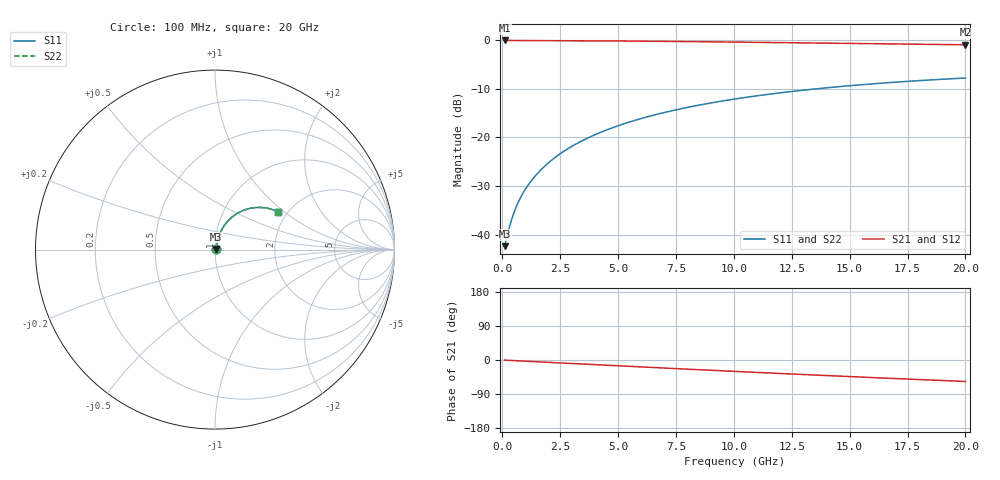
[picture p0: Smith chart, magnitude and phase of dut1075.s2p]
! Touchstone file exported from HFSS 2026.1.0
!  File:  C:/ffzhzh/LocalFiles/Ansys_Project_Files/temp_train_TMRDL_1075_1783160789_55132.aedt
!  Generated:  06:27:53 PM Jul  4, 2026
!  Design:  TMRDL
!  Project:  temp_train_TMRDL_1075_1783160789_55132
! Variables:
!  h_bsmrdl = 2um
!  h_ox = 20um
!  h_rdl = 5um
!  h_sub = 80um
!  h_tmrdl = 2.36um
!  h_tsv = 80um
!  h_via = 3um
!  l_bsmrdl = 300um
!  l_sub = 1316.37um
!  l_tmrdl = 916.37um
!  m_sub = 200um
!  pitch = 36.78um
!  r_tsv = 6um
!  s_tmrdl = 10um
!  w_bsmrdl = 18um
!  w_sub = 500um
!  w_tmrdl = 20.31um
!  x_tsv_center1 = 926.525um
!  x_tsv_center2 = 1244.525um
!  x_tsv_center3 = 2181.205um
!  x_tsv_center4 = 2499.205um
!  x_tsv_center5 = 3435.885um
!  x_tsv_center6 = 3753.885um
# GHz S MA R 50.000000
! Terminal data exported
! Port[1] = TM_RDL1_1_T1
! Port[2] = TM_RDL1_1_T2
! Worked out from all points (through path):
!   200 points, 100 MHz to 20 GHz, reference 50 ohm
!   highest |S21| = -0.06 dB at 100 MHz (marker M1); lowest = -0.9 dB at 20 GHz (marker M2)
!   group delay of S21, straight-line fit = 7.88 ps
!   lowest |S11| = -42.4 dB at 100 MHz (marker M3), VSWR 1.02, Z = 50.7 + j0.313 ohm
!   |S11| at or under -10 dB: start of sweep to 13.58 GHz
!   |S22| runs from -42.4 to -7.8 dB; largest |S21 - S12| = 3.3e-15
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0.1  0.007612 23.9  0.9931 -0.3  0.9931 -0.3  0.007612 23.9
! Gamma 0 0 0 0
! Port Impedance 50 0 50 0
0.3  0.01177 50.0  0.9925 -1.0  0.9925 -1.0  0.01177 50.0
0.4  0.01425 56.0  0.9922 -1.3  0.9922 -1.3  0.01425 56.0
0.5  0.01677 60.0  0.9919 -1.6  0.9919 -1.6  0.01677 60.0
0.6  0.01929 62.8  0.9916 -1.9  0.9916 -1.9  0.01929 62.8
0.7  0.02181 65.0  0.9914 -2.2  0.9914 -2.2  0.02181 65.0
0.9  0.02685 68.1  0.9909 -2.8  0.9909 -2.8  0.02685 68.1
1.2  0.03444 70.9  0.9904 -3.8  0.9904 -3.8  0.03444 70.9
1.4  0.03954 72.1  0.99 -4.4  0.99 -4.4  0.03954 72.1
1.7  0.04725 73.2  0.9895 -5.3  0.9895 -5.3  0.04725 73.2
2.2  0.06017 74.0  0.9886 -6.8  0.9886 -6.8  0.06017 74.0
2.8  0.0757 73.9  0.9873 -8.6  0.9873 -8.6  0.0757 73.9
3.5  0.09375 73.0  0.9855 -10.8  0.9855 -10.8  0.09375 73.0
4.2  0.1116 71.8  0.9834 -12.9  0.9834 -12.9  0.1116 71.8
5  0.1318 70.0  0.9806 -15.3  0.9806 -15.3  0.1318 70.0
5.9  0.154 67.9  0.977 -18.0  0.977 -18.0  0.154 67.9
6.8  0.1757 65.6  0.973 -20.7  0.973 -20.7  0.1757 65.6
8.3  0.2104 61.6  0.9654 -25.1  0.9654 -25.1  0.2104 61.6
10.1  0.2494 56.7  0.9553 -30.3  0.9553 -30.3  0.2494 56.7
13.4  0.3131 47.9  0.9351 -39.5  0.9351 -39.5  0.313 47.9
16.7  0.3659 39.4  0.9149 -48.3  0.9149 -48.3  0.3659 39.4
20  0.4081 31.2  0.8965 -56.7  0.8965 -56.7  0.4081 31.2
